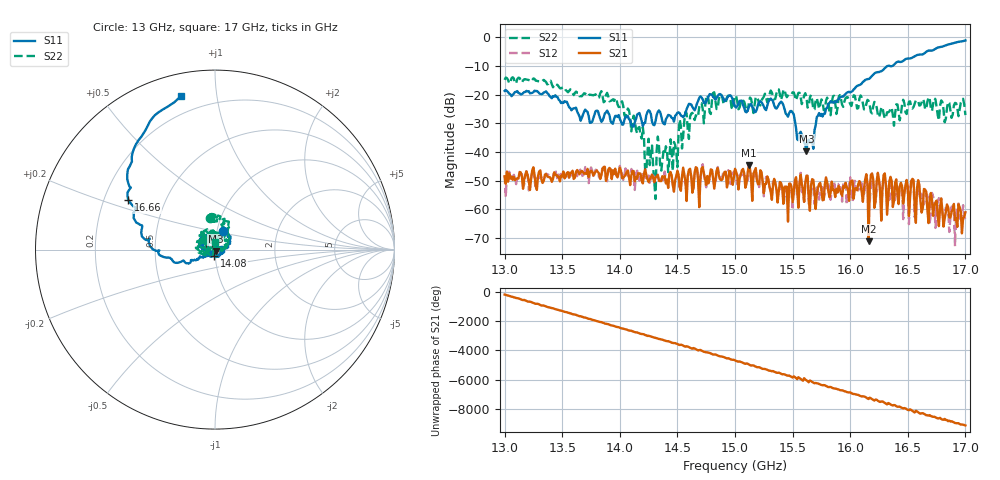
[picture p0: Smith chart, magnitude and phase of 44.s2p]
!Keysight Technologies,P9374A,MY57211807,A.19.30.04
!Date: Friday, May 01, 2026 14:14:49
!Correction: S11(C  2-Port  )
!S21(C  2-Port  )
!S12(C  2-Port  )
!S22(C  2-Port  )
!S2P File: Measurements: S11, S21, S12, S22:
# Hz S  RI  R 50
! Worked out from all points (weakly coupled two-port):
!   401 points, 13 GHz to 17 GHz, reference 50 ohm
!   highest |S21| = -44.63 dB at 15.12 GHz (marker M1); lowest = -71.1 dB at 16.16 GHz (marker M2)
!   lowest |S11| = -39.8 dB at 15.62 GHz (marker M3), VSWR 1.02, Z = 50.4 - j0.941 ohm
!   |S11| at or under -10 dB: start of sweep to 16.33 GHz; 16.3417 GHz to 16.36929 GHz (27.59 MHz wide, 0.169 % of centre)
!   |S22| runs from -56.4 to -14.0 dB; largest |S21 - S12| = 0.0023
!   S11 on the Smith chart (normalised r, x): 13 GHz: 1.07, +0.23; 14.08 GHz: 0.99, -0.07; 16.66 GHz: 0.30, +0.24; 17 GHz: 0.11, +0.79
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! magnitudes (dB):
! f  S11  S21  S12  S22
! 13 GHz  -18.7  -48.5  -48.2  -14.9
! 13.36 GHz  -18.9  -47.7  -47.5  -15.6
! 13.67 GHz  -28.2  -46.6  -47.3  -20.6
! 13.95 GHz  -28.6  -47.7  -47.4  -22.2
! 14.08 GHz  -28.6  -48.8  -48.5  -25.6
! 14.19 GHz  -29.2  -50.0  -49.9  -35.3
! 14.29 GHz  -30.5  -49.1  -48.2  -45.6
! 14.34 GHz  -25.5  -50.1  -49.6  -38.0
! 14.48 GHz  -27.5  -49.9  -50.5  -37.5
! 14.57 GHz  -26.6  -50.4  -50.9  -26.0
! 14.76 GHz  -21.6  -48.4  -49.2  -20.2
! 15 GHz  -24.1  -45.9  -47.1  -20.4
! 15.12 GHz  -24.3  -44.6  -46.7  -23.0
! 15.4 GHz  -22.5  -50.9  -53.0  -21.9
! 15.62 GHz  -39.8  -48.3  -49.0  -20.8
! 15.67 GHz  -36.6  -49.5  -50.0  -22.0
! 15.72 GHz  -27.4  -52.6  -53.1  -23.0
! 15.82 GHz  -23.0  -55.8  -53.1  -26.3
! 16.16 GHz  -14.6  -71.1  -55.9  -22.2
! 16.34 GHz  -10.0  -50.3  -56.7  -25.9
! 16.66 GHz  -5.1  -53.8  -54.5  -25.2
! 17 GHz  -1.2  -61.0  -63.4  -27.2
